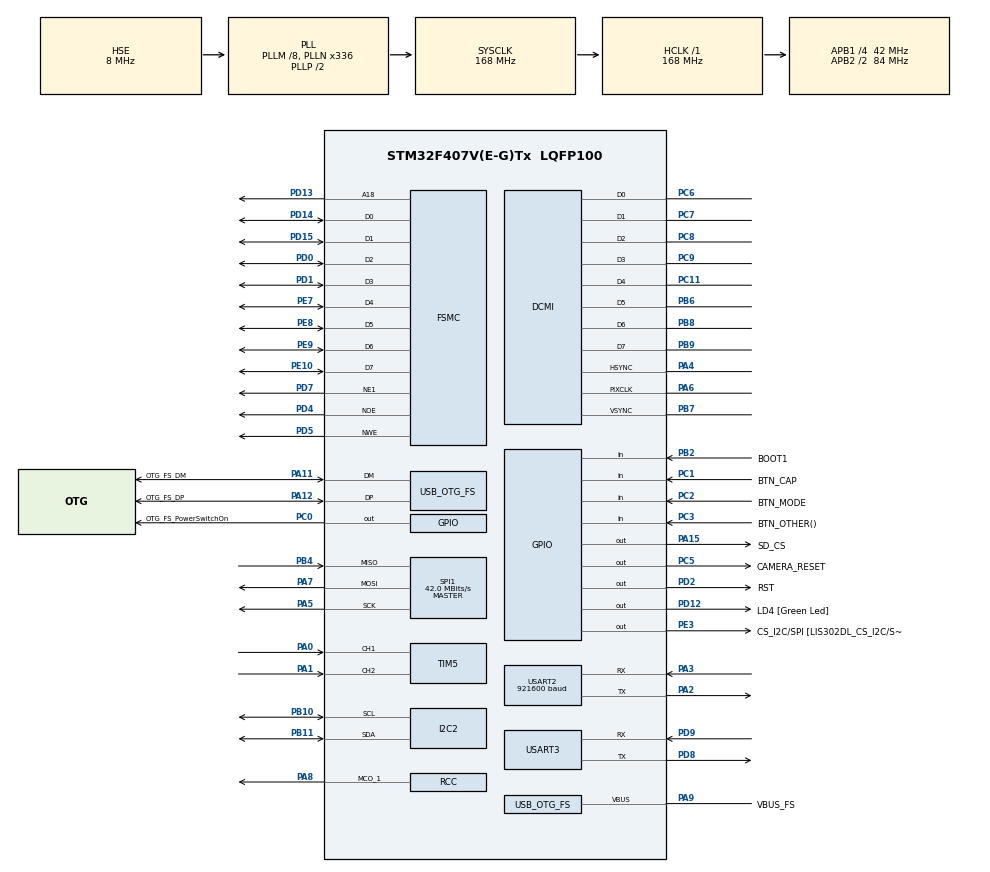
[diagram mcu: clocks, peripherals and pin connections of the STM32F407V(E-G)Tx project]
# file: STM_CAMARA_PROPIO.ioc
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DCMI.PCKPolarity=DCMI_PCKPOLARITY_RISING
DCMI.VSPolarity=DCMI_VSPOLARITY_HIGH
Dma.DCMI.2.Direction=DMA_PERIPH_TO_MEMORY
Dma.DCMI.2.FIFOMode=DMA_FIFOMODE_DISABLE
Dma.DCMI.2.Instance=DMA2_Stream1
Dma.DCMI.2.MemDataAlignment=DMA_MDATAALIGN_WORD
Dma.DCMI.2.MemInc=DMA_MINC_DISABLE
Dma.DCMI.2.Mode=DMA_NORMAL
Dma.DCMI.2.PeriphDataAlignment=DMA_PDATAALIGN_WORD
Dma.DCMI.2.PeriphInc=DMA_PINC_DISABLE
Dma.DCMI.2.Priority=DMA_PRIORITY_LOW
Dma.Request0=USART2_RX
Dma.Request1=USART3_RX
Dma.Request2=DCMI
Dma.USART2_RX.0.Direction=DMA_PERIPH_TO_MEMORY
Dma.USART2_RX.0.FIFOMode=DMA_FIFOMODE_DISABLE
Dma.USART2_RX.0.Instance=DMA1_Stream5
Dma.USART2_RX.0.MemDataAlignment=DMA_MDATAALIGN_BYTE
Dma.USART2_RX.0.MemInc=DMA_MINC_ENABLE
Dma.USART2_RX.0.Mode=DMA_CIRCULAR
Dma.USART2_RX.0.PeriphDataAlignment=DMA_PDATAALIGN_BYTE
Dma.USART2_RX.0.PeriphInc=DMA_PINC_DISABLE
Dma.USART2_RX.0.Priority=DMA_PRIORITY_LOW
Dma.USART3_RX.1.Direction=DMA_PERIPH_TO_MEMORY
Dma.USART3_RX.1.FIFOMode=DMA_FIFOMODE_DISABLE
Dma.USART3_RX.1.Instance=DMA1_Stream1
Dma.USART3_RX.1.MemDataAlignment=DMA_MDATAALIGN_BYTE
Dma.USART3_RX.1.MemInc=DMA_MINC_ENABLE
Dma.USART3_RX.1.Mode=DMA_NORMAL
Dma.USART3_RX.1.PeriphDataAlignment=DMA_PDATAALIGN_BYTE
Dma.USART3_RX.1.PeriphInc=DMA_PINC_DISABLE
Dma.USART3_RX.1.Priority=DMA_PRIORITY_LOW
FSMC.AddressSetupTime1=6
FSMC.BusTurnAroundDuration1=1
FSMC.DataSetupTime1=6
FSMC.ExtendedMode1=FSMC_EXTENDED_MODE_DISABLE
Mcu.Family=STM32F4
Mcu.Name=STM32F407V(E-G)Tx
Mcu.Package=LQFP100
NVIC.DCMI_IRQn=true\:0\:0\:false\:false\:true\:true\:true\:true
NVIC.DMA1_Stream1_IRQn=true\:0\:0\:false\:false\:true\:false\:true\:true
NVIC.DMA1_Stream5_IRQn=true\:0\:0\:false\:false\:true\:false\:true\:true
NVIC.DMA2_Stream1_IRQn=true\:0\:0\:false\:false\:true\:false\:true\:true
NVIC.OTG_FS_IRQn=true\:0\:0\:false\:false\:true\:true\:true\:true
NVIC.PriorityGroup=NVIC_PRIORITYGROUP_0
PA0-WKUP.Signal=S_TIM5_CH1
PA1.Signal=S_TIM5_CH2
PA10.GPIO_Label=OTG_FS_ID
PA10.GPIO_Mode=GPIO_MODE_AF_PP
PA10.GPIO_PuPd=GPIO_NOPULL
PA10.GPIO_Speed=GPIO_SPEED_FREQ_LOW
PA10.Signal=USB_OTG_FS_ID
PA11.GPIO_Label=OTG_FS_DM
PA11.GPIO_Mode=GPIO_MODE_AF_PP
PA11.GPIO_PuPd=GPIO_NOPULL
PA11.GPIO_Speed=GPIO_SPEED_FREQ_LOW
PA11.Mode=Host_Only
PA11.Signal=USB_OTG_FS_DM
PA12.GPIO_Label=OTG_FS_DP
PA12.GPIO_Mode=GPIO_MODE_AF_PP
PA12.GPIO_PuPd=GPIO_NOPULL
PA12.GPIO_Speed=GPIO_SPEED_FREQ_LOW
PA12.Mode=Host_Only
PA12.Signal=USB_OTG_FS_DP
PA13.GPIO_Label=SWDIO
PA13.Mode=Serial_Wire
PA13.Signal=SYS_JTMS-SWDIO
PA14.GPIO_Label=SWCLK
PA14.Mode=Serial_Wire
PA14.Signal=SYS_JTCK-SWCLK
PA15.GPIO_Label=SD_CS
PA15.Signal=GPIO_Output
PA2.Mode=Asynchronous
PA2.Signal=USART2_TX
PA3.Mode=Asynchronous
PA3.Signal=USART2_RX
PA4.GPIO_PuPd=GPIO_PULLDOWN
PA4.GPIO_Speed=GPIO_SPEED_FREQ_VERY_HIGH
PA4.Mode=Slave_8_bits_External_Synchro
PA4.Signal=DCMI_HSYNC
PA5.Mode=Full_Duplex_Master
PA5.Signal=SPI1_SCK
PA6.GPIO_PuPd=GPIO_PULLDOWN
PA6.GPIO_Speed=GPIO_SPEED_FREQ_VERY_HIGH
PA6.Mode=Slave_8_bits_External_Synchro
PA6.Signal=DCMI_PIXCLK
PA7.Mode=Full_Duplex_Master
PA7.Signal=SPI1_MOSI
PA8.GPIO_Speed=GPIO_SPEED_FREQ_VERY_HIGH
PA8.Mode=Clock-out-1
PA8.Signal=RCC_MCO_1
PA9.GPIO_Label=VBUS_FS
PA9.GPIO_Mode=GPIO_MODE_INPUT
PA9.GPIO_PuPd=GPIO_NOPULL
PA9.Mode=Activate_VBUS
PA9.Signal=USB_OTG_FS_VBUS
PB10.Mode=I2C
PB10.Signal=I2C2_SCL
PB11.Mode=I2C
PB11.Signal=I2C2_SDA
PB2.GPIO_Label=BOOT1
PB2.GPIO_Mode=GPIO_MODE_INPUT
PB2.GPIO_PuPd=GPIO_NOPULL
PB2.Signal=GPIO_Input
PB3.GPIO_Label=SWO
PB3.Signal=SYS_JTDO-SWO
PB4.Mode=Full_Duplex_Master
PB4.Signal=SPI1_MISO
PB6.GPIO_PuPd=GPIO_PULLDOWN
PB6.GPIO_Speed=GPIO_SPEED_FREQ_VERY_HIGH
PB6.Mode=Slave_8_bits_External_Synchro
PB6.Signal=DCMI_D5
PB7.GPIO_PuPd=GPIO_PULLDOWN
PB7.GPIO_Speed=GPIO_SPEED_FREQ_VERY_HIGH
PB7.Mode=Slave_8_bits_External_Synchro
PB7.Signal=DCMI_VSYNC
PB8.GPIO_PuPd=GPIO_PULLDOWN
PB8.GPIO_Speed=GPIO_SPEED_FREQ_VERY_HIGH
PB8.Mode=Slave_8_bits_External_Synchro
PB8.Signal=DCMI_D6
PB9.GPIO_PuPd=GPIO_PULLDOWN
PB9.GPIO_Speed=GPIO_SPEED_FREQ_VERY_HIGH
PB9.Mode=Slave_8_bits_External_Synchro
PB9.Signal=DCMI_D7
PC0.GPIO_Label=OTG_FS_PowerSwitchOn
PC0.GPIO_PuPd=GPIO_NOPULL
PC0.GPIO_Speed=GPIO_SPEED_FREQ_LOW
PC0.PinState=GPIO_PIN_SET
PC0.Signal=GPIO_Output
PC1.GPIO_Label=BTN_CAP
PC1.GPIO_PuPd=GPIO_PULLUP
PC1.Signal=GPIO_Input
PC11.GPIO_PuPd=GPIO_PULLDOWN
PC11.GPIO_Speed=GPIO_SPEED_FREQ_VERY_HIGH
PC11.Mode=Slave_8_bits_External_Synchro
PC11.Signal=DCMI_D4
PC14-OSC32_IN.GPIO_Label=PC14-OSC32_IN
PC14-OSC32_IN.Signal=RCC_OSC32_IN
PC15-OSC32_OUT.GPIO_Label=PC15-OSC32_OUT
PC15-OSC32_OUT.Signal=RCC_OSC32_OUT
PC2.GPIO_Label=BTN_MODE
PC2.GPIO_PuPd=GPIO_PULLUP
PC2.Signal=GPIO_Input
PC3.GPIO_Label=BTN_OTHER()
PC3.GPIO_PuPd=GPIO_PULLUP
PC3.Signal=GPIO_Input
PC5.GPIO_Label=CAMERA_RESET
PC5.Signal=GPIO_Output
PC6.GPIO_PuPd=GPIO_PULLDOWN
PC6.GPIO_Speed=GPIO_SPEED_FREQ_VERY_HIGH
PC6.Mode=Slave_8_bits_External_Synchro
PC6.Signal=DCMI_D0
PC7.GPIO_PuPd=GPIO_PULLDOWN
PC7.GPIO_Speed=GPIO_SPEED_FREQ_VERY_HIGH
PC7.Mode=Slave_8_bits_External_Synchro
PC7.Signal=DCMI_D1
PC8.GPIO_PuPd=GPIO_PULLDOWN
PC8.GPIO_Speed=GPIO_SPEED_FREQ_VERY_HIGH
PC8.Mode=Slave_8_bits_External_Synchro
PC8.Signal=DCMI_D2
PC9.GPIO_PuPd=GPIO_PULLDOWN
PC9.GPIO_Speed=GPIO_SPEED_FREQ_VERY_HIGH
PC9.Mode=Slave_8_bits_External_Synchro
PC9.Signal=DCMI_D3
PD0.Mode=8b-d1
PD0.Signal=FSMC_D2
PD1.Mode=8b-d1
PD1.Signal=FSMC_D3
PD12.GPIO_Label=LD4 [Green Led]
PD12.GPIO_PuPd=GPIO_NOPULL
PD12.GPIO_Speed=GPIO_SPEED_FREQ_LOW
PD12.Signal=GPIO_Output
PD13.Mode=A18_1
PD13.Signal=FSMC_A18
PD14.Mode=8b-d1
PD14.Signal=FSMC_D0
PD15.Mode=8b-d1
PD15.Signal=FSMC_D1
PD2.GPIO_Label=RST
PD2.Signal=GPIO_Output
PD4.Mode=Lcd1
PD4.Signal=FSMC_NOE
PD5.Mode=Lcd1
PD5.Signal=FSMC_NWE
PD7.Mode=NorPsramChipSelect1_1
PD7.Signal=FSMC_NE1
PD8.Mode=Asynchronous
PD8.Signal=USART3_TX
PD9.Mode=Asynchronous
PD9.Signal=USART3_RX
PE10.Mode=8b-d1
PE10.Signal=FSMC_D7
PE3.GPIO_Label=CS_I2C/SPI [LIS302DL_CS_I2C/SPI]
PE3.GPIO_PuPd=GPIO_NOPULL
PE3.GPIO_Speed=GPIO_SPEED_FREQ_LOW
PE3.PinState=GPIO_PIN_SET
PE3.Signal=GPIO_Output
PE7.Mode=8b-d1
PE7.Signal=FSMC_D4
PE8.Mode=8b-d1
PE8.Signal=FSMC_D5
PE9.Mode=8b-d1
PE9.Signal=FSMC_D6
PH0-OSC_IN.GPIO_Label=PH0-OSC_IN
PH0-OSC_IN.Mode=HSE-External-Oscillator
PH0-OSC_IN.Signal=RCC_OSC_IN
PH1-OSC_OUT.GPIO_Label=PH1-OSC_OUT
PH1-OSC_OUT.Mode=HSE-External-Oscillator
PH1-OSC_OUT.Signal=RCC_OSC_OUT
ProjectManager.HeapSize=0x200
ProjectManager.StackSize=0x400
ProjectManager.TargetToolchain=STM32CubeIDE
RCC.48MHZClocksFreq_Value=48000000
RCC.AHBFreq_Value=168000000
RCC.APB1CLKDivider=RCC_HCLK_DIV4
RCC.APB1Freq_Value=42000000
RCC.APB1TimFreq_Value=84000000
RCC.APB2CLKDivider=RCC_HCLK_DIV2
RCC.APB2Freq_Value=84000000
RCC.APB2TimFreq_Value=168000000
RCC.CortexFreq_Value=168000000
RCC.HCLKFreq_Value=168000000
RCC.HSE_VALUE=8000000
RCC.HSI_VALUE=16000000
RCC.LSE_VALUE=32768
RCC.PLLM=8
RCC.PLLN=336
RCC.PLLQ=7
RCC.RCC_MCO1Source=RCC_MCO1SOURCE_PLLCLK
RCC.RCC_MCODiv1=RCC_MCODIV_4
RCC.SYSCLKFreq_VALUE=168000000
RCC.SYSCLKSource=RCC_SYSCLKSOURCE_PLLCLK
RCC.VCOOutputFreq_Value=336000000
SH.S_TIM5_CH1.0=TIM5_CH1,Encoder_Interface
SH.S_TIM5_CH2.0=TIM5_CH2,Encoder_Interface
SPI1.CalculateBaudRate=42.0 MBits/s
SPI1.Direction=SPI_DIRECTION_2LINES
SPI1.Mode=SPI_MODE_MASTER
SPI1.VirtualType=VM_MASTER
USART2.BaudRate=921600
USART2.VirtualMode=VM_ASYNC
USART3.VirtualMode=VM_ASYNC
USB_HOST.BSP.number=1
USB_HOST.USBH_HandleTypeDef-CDC_FS=hUsbHostFS
USB_HOST.VirtualModeFS=Cdc
USB_HOST0.BSP.STBoard=false
USB_HOST0.BSP.api=Unknown
USB_HOST0.BSP.instance=PC0
USB_HOST0.BSP.ip=GPIO
USB_HOST0.BSP.mode=Output
USB_HOST0.BSP.name=Drive_VBUS_FS
USB_HOST0.BSP.solution=PC0
USB_OTG_FS.VirtualMode=Host_Only
USB_OTG_FS.phy_itface=HCD_PHY_EMBEDDED
VP_USB_HOST_VS_USB_HOST_CDC_FS.Mode=CDC_FS
board=STM32F407G-DISC1

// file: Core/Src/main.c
/* USER CODE BEGIN Header */
/**
  ******************************************************************************
  * @file           : main.c
  * @brief          : Main program body
  ******************************************************************************
  * @attention
  *
  * Copyright (c) 2022 STMicroelectronics.
  * All rights reserved.
  *
  * This software is licensed under terms that can be found in the LICENSE file
  * in the root directory of this software component.
  * If no LICENSE file comes with this software, it is provided AS-IS.
  *
  ******************************************************************************
  */
/* USER CODE END Header */
#include "main.h"
#include "usb_host.h"

/* USER CODE BEGIN Includes */

#include "./lcdIli9341/lcdIli9341.h"
//#include "./ov7670/ov7670.c"
#include "./ov7670/ov7670.h"
/* USER CODE END Includes */

/* USER CODE BEGIN PD */
#define FLASH_STORAGE 0x08005000
#define page_size 0x800

/* USER CODE END PD */

DCMI_HandleTypeDef hdcmi;
DMA_HandleTypeDef hdma_dcmi;

I2C_HandleTypeDef hi2c2;

SPI_HandleTypeDef hspi1;

TIM_HandleTypeDef htim5;

UART_HandleTypeDef huart2;
UART_HandleTypeDef huart3;
DMA_HandleTypeDef hdma_usart2_rx;
DMA_HandleTypeDef hdma_usart3_rx;

SRAM_HandleTypeDef hsram1;

/* USER CODE BEGIN PV */

uint32_t Flash_Address=0x08040000;  // direccion de memoria

/* USER CODE END PV */

void SystemClock_Config(void);
static void MX_GPIO_Init(void);
static void MX_DMA_Init(void);
static void MX_DCMI_Init(void);
static void MX_FSMC_Init(void);
static void MX_I2C2_Init(void);
static void MX_SPI1_Init(void);
static void MX_TIM5_Init(void);
static void MX_USART2_UART_Init(void);
static void MX_USART3_UART_Init(void);
void MX_USB_HOST_Process(void);

/* USER CODE BEGIN 0 */

uint8_t myImage[] =
{
// LA IMAGEN EST�? MAL, RETIRÉ ARREGLOS PARA FACILITAR EL USO DEL IDE
0x04,0x27,0x03,0xc6,0x03,0xe7,0x04,0x07,0x03,0xe6,0x03,0xc6,0x4c,0xac,0x4c,0x6b,0x44,0xab,0x44,0xab,0x3c,0x2a,0x3c,0x4a,0x2c,0x29,0x03,0xa5,0x03,0x65,0x03,0x24,0x03,0x04,0x1a,0xa6,0x29,0x85,0x10,0xa2,0x08,0x81,0x08,0x81,0x08,0x61,0x10,0x81,0x10,0x81,0x08,0x61,0x08,0x81,0x08,0xe2,0x2b,0x47,0x5c,0x8c,0x54,0x4b,0x64,0xcd,0x64,0xad,0x34,0x09,0x3c,0x4a,0x5c,0x8c,0x34,0x4a,0x03,0xa6,0x0b,0xa6,0x2b,0xe9,0x8d,0x10,0xb5,0xb4,0xb5,0xb4,0xad,0xb4,0xad,0x94,0xad,0xb4,0xad,0x94,0xb5,0xb5,0xbd,0xf5,0x7c,0xef,0x1b,0xc8,0x03,0xe6,0x0c,0x07,0x64,0xee,0x64,0xad,0x4c,0xcd,0x6c,0xef,0x44,0xac,0x04,0x06,0x04,0x07,0x04,0x07,0x04,0x07,0x03,0xe7,0x04,0x28,0x04,0x07,0x04,0x07,0x04,0x27,0x0c,0x28,0x55,0x0d,0x4c,0xcc,0x44,0xcc,0x4c,0xcc,0x4c,0xac,0x44,0xcc,0x24,0x8a,0x04,0x07,0x04,0x07,0x04,0x07,0x03,0xe7,0x0c,0x28
,0xbe,0xd8,0xb6,0x97,0xae,0x77,0xae,0x77,0xae,0x77,0xa6,0x76,0xa6,0x56,0xa6,0x56,0xa6,0x56,0xa6,0x56,0xa6,0x56,0xa6,0x35,0xa6,0x56,0xa6,0x56,0xa6,0x35,0xa6,0x35,0xa6,0x35,0x9d,0x73,0x18,0xe2,0x10,0xa1,0x10,0x81,0x10,0x81,0x10,0x61,0x10,0x61,0x10,0x81,0x10,0xa1,0x18,0xc2,0x31,0xe6,0xc6,0xb8,0xae,0x56,0xa6,0x56,0xa6,0x56,0xa6,0x36,0xa6,0x36,0xa6,0x56,0xa6,0x56,0xa6,0x56,0xa6,0x76,0xa6,0x56,0xae,0x77,0xd6,0xd9,0xf7,0x9d,0xef,0x5c,0xef,0x7c,0xef,0x7c,0xef,0x7c,0xef,0x7c,0xf7,0x9d,0xef,0x5c,0xd6,0xfa,0xa6,0x56,0xa6,0x56,0xa6,0x56,0xa6,0x76,0xa6,0x76,0xa6,0x76,0xa6,0x76,0xa6,0x76,0xae,0x76,0xa6,0x77,0xa6,0x56,0x9e,0x76,0x9e,0x76,0x9e,0x76,0xa6,0x76,0xa6,0x76,0x9e,0x76,0x9e,0x56,0x9e,0x56,0x9e,0x55,0x9e,0x55,0x9e,0x55,0x9e,0x56,0x9e,0x55,0x9e,0x56,0xa6,0x56,0xa6,0x56,0xa6,0x76,0xae,0x77,0xae,0x77
,0xff,0xff,0xff,0xff,0xff,0xff,0xff,0xff,0xff,0xff,0xff,0xff,0xff,0xff,0xff,0xff,0xff,0xff,0xff,0xff,0xff,0xff,0xff,0xff,0xff,0xff,0xff,0xff,0xff,0xff,0xff,0xff,0xff,0xff,0xff,0xdf,0x7b,0xcd,0x31,0x85,0x29,0x64,0x10,0x81,0x10,0xa2,0x29,0x64,0x39,0xe6,0xce,0x58,0xf7,0xbe,0xf7,0xbe,0xff,0xff,0xff,0xff,0xff,0xff,0xff,0xff,0xff,0xff,0xff,0xff,0xff,0xff,0xff,0xff,0xff,0xff,0xff,0xff,0xff,0xff,0xff,0xff,0xff,0xff,0xff,0xff,0xff,0xff,0xff,0xff,0xff,0xff,0xff,0xff,0xff,0xff,0xff,0xff,0xff,0xff,0xff,0xff,0xff,0xff,0xff,0xff,0xff,0xff,0xff,0xff,0xff,0xff,0xff,0xff,0xff,0xff,0xff,0xff,0xff,0xff,0xff,0xff,0xff,0xff,0xff,0xff,0xff,0xff,0xff,0xff,0xff,0xff,0xff,0xff,0xff,0xff,0xff,0xff,0xff,0xff,0xff,0xff,0xff,0xff,0xff,0xff,0xff,0xff,0xff,0xff,0xff,0xff,0xff,0xff,0xff,0xff,0xff,0xff,0xff,0xff,0xff,0xff
,0xff,0xff,0xff,0xff,0xff,0xff,0xff,0xff,0xff,0xff,0xff,0xff,0xff,0xff,0xff,0xff,0xff,0xff,0xff,0xff,0xff,0xff,0xff,0xff,0xff,0xff,0xff,0xff,0xff,0xff,0xff,0xff,0xff,0xff,0xff,0xff,0x84,0x0e,0x31,0xa5,0x29,0x44,0x08,0x81,0x08,0x81,0x29,0x64,0x3a,0x07,0xd6,0x99,0xff,0xff,0xff,0xff,0xff,0xff,0xff,0xff,0xff,0xff,0xff,0xff,0xff,0xff,0xff,0xff,0xff,0xff,0xff,0xff,0xff,0xff,0xff,0xff,0xff,0xff,0xff,0xff,0xff,0xff,0xff,0xff,0xff,0xff,0xff,0xff,0xff,0xff,0xff,0xff,0xff,0xff,0xff,0xff,0xff,0xff,0xff,0xff,0xff,0xff,0xff,0xff,0xff,0xff,0xff,0xff,0xff,0xff,0xff,0xff,0xff,0xff,0xff,0xff,0xff,0xff,0xff,0xff,0xff,0xff,0xff,0xff,0xff,0xff,0xff,0xff,0xff,0xff,0xff,0xff,0xff,0xff,0xff,0xff,0xff,0xff,0xff,0xff,0xff,0xff,0xff,0xff,0xff,0xff,0xff,0xff,0xff,0xff,0xff,0xff,0xff,0xff,0xff,0xff,0xff,0xff,0xff,0xff
,0xff,0xff,0xff,0xff,0xff,0xff,0xff,0xff,0xff,0xff,0xff,0xff,0xff,0xff,0xff,0xff,0xff,0xff,0xff,0xff,0xff,0xff,0xff,0xff,0xff,0xff,0xff,0xff,0xff,0xff,0xff,0xff,0xff,0xff,0xff,0xff,0x84,0x0f,0x31,0xa5,0x29,0x44,0x08,0x81,0x10,0xa1,0x29,0x64,0x3a,0x06,0xd6,0x99,0xff,0xff,0xff,0xff,0xff,0xff,0xff,0xff,0xff,0xff,0xff,0xff,0xff,0xff,0xff,0xff,0xff,0xff,0xff,0xff,0xff,0xff,0xff,0xff,0xff,0xff,0xff,0xff,0xff,0xff,0xff,0xff,0xff,0xff,0xff,0xff,0xff,0xff,0xff,0xff,0xff,0xff,0xff,0xff,0xff,0xff,0xff,0xff,0xff,0xff,0xff,0xff,0xff,0xff,0xff,0xff,0xff,0xff,0xff,0xff,0xff,0xff,0xff,0xff,0xff,0xff,0xff,0xff,0xff,0xff,0xff,0xff,0xff,0xff,0xff,0xff,0xff,0xff,0xff,0xff,0xff,0xff,0xff,0xff,0xff,0xff,0xff,0xff,0xff,0xff,0xff,0xff,0xff,0xff,0xff,0xff,0xff,0xff,0xff,0xff,0xff,0xff,0xff,0xff,0xff,0xff,0xff,0xff
,0xff,0xff,0xff,0xff,0xff,0xff,0xff,0xff,0xff,0xff,0xff,0xff,0xff,0xff,0xff,0xff,0xff,0xff,0xff,0xff,0xff,0xff,0xff,0xff,0xff,0xff,0xff,0xff,0xff,0xff,0xff,0xff,0xff,0xff,0xff,0xff,0x7c,0x0e,0x31,0xa5,0x29,0x44,0x10,0xa1,0x10,0xa2,0x29,0x64,0x42,0x06,0xd6,0x99,0xff,0xff,0xff,0xff,0xff,0xff,0xff,0xff,0xff,0xff,0xff,0xff,0xff,0xff,0xff,0xff,0xff,0xff,0xff,0xff,0xff,0xff,0xff,0xff,0xff,0xff,0xff,0xff,0xff,0xff,0xff,0xff,0xff,0xff,0xff,0xff,0xff,0xff,0xff,0xff,0xff,0xff,0xff,0xff,0xff,0xff,0xff,0xff,0xff,0xff,0xff,0xff,0xff,0xff,0xff,0xff,0xff,0xff,0xff,0xff,0xff,0xff,0xff,0xff,0xff,0xff,0xff,0xff,0xff,0xff,0xff,0xff,0xff,0xff,0xff,0xff,0xff,0xff,0xff,0xff,0xff,0xff,0xff,0xff,0xff,0xff,0xff,0xff,0xff,0xff,0xff,0xff,0xff,0xff,0xff,0xff,0xff,0xff,0xff,0xff,0xff,0xff,0xff,0xff,0xff,0xff,0xff,0xff
,0xff,0xff,0xff,0xff,0xff,0xff,0xff,0xff,0xff,0xff,0xff,0xff,0xff,0xff,0xff,0xff,0xff,0xff,0xff,0xff,0xff,0xff,0xff,0xff,0xff,0xff,0xff,0xff,0xff,0xff,0xff,0xff,0xff,0xff,0xff,0xff,0x8c,0x50,0x39,0xe6,0x31,0x85,0x18,0xe2,0x21,0x03,0x31,0xa5,0x4a,0x47,0xd6,0xba,0xff,0xff,0xff,0xff,0xff,0xff,0xff,0xff,0xff,0xff,0xff,0xff,0xff,0xff,0xff,0xff,0xff,0xff,0xff,0xff,0xff,0xff,0xff,0xff,0xff,0xff,0xff,0xff,0xff,0xff,0xff,0xff,0xff,0xff,0xff,0xff,0xff,0xff,0xff,0xff,0xff,0xff,0xff,0xff,0xff,0xff,0xff,0xff,0xff,0xff,0xff,0xff,0xff,0xff,0xff,0xff,0xff,0xff,0xff,0xff,0xff,0xff,0xff,0xff,0xff,0xff,0xff,0xff,0xff,0xff,0xff,0xff,0xff,0xff,0xff,0xff,0xff,0xff,0xff,0xff,0xff,0xff,0xff,0xff,0xff,0xff,0xff,0xff,0xff,0xff,0xff,0xff,0xff,0xff,0xff,0xff,0xff,0xff,0xff,0xff,0xff,0xff,0xff,0xff,0xff,0xff,0xff,0xff

};

/* USER CODE END 0 */

int main(void)
{
  /* USER CODE BEGIN 1 */
	HAL_GPIO_WritePin(GPIOD, LD4_Pin, GPIO_PIN_RESET);
  /* USER CODE END 1 */

  /* MCU Configuration--------------------------------------------------------*/

  /* Reset of all peripherals, Initializes the Flash interface and the Systick. */
  HAL_Init();

  /* Configure the system clock */
  SystemClock_Config();

  /* Initialize all configured peripherals */
  MX_GPIO_Init();
  MX_DMA_Init();
  MX_DCMI_Init();
  MX_FSMC_Init();
  MX_I2C2_Init();
  MX_SPI1_Init();
  MX_TIM5_Init();
  MX_USART2_UART_Init();
  MX_USART3_UART_Init();
  MX_USB_HOST_Init();
  /* USER CODE BEGIN 2 */

//____________________________________________________________________________DATOS POR SERIAL, EN ARCHIVO uartTerminal vienen comandos__

  retarget_init();

  //printf("hola mundo \n");    //COMENTÉ EL SALUDO PARA LEER LOS DATOS EN HEX

  //_________________esto iba en el WHILE infinito_______es una lectura de datos continua sobre el serial

  /*
   	  int number ;
	  printf("dame un numero \n");
	  scanf("%d", &number);
	  printf("%d x 2 = %d", number, number*2);
	  */

  //__________________________________________________________________________AQUI EMPIEZA LCD_________________
	HAL_GPIO_WritePin(RST_GPIO_Port, RST_Pin, GPIO_PIN_RESET);
	HAL_Delay(10);
	HAL_GPIO_WritePin(RST_GPIO_Port, RST_Pin, GPIO_PIN_SET);

	//lcdIli9341_init(); //de iwitake inicializacion de lcd
	//lcdIli9341_writeCmd(0x01);  // de iwitake lcd

	ILI9341_Init();   // INCIALIZACION DE lcd
	ILI9341_setRotation(3);

	ILI9341_Fill(COLOR_RED);

	//Draw and fill circle
	//ILI9341_drawCircle(50,50, 40, COLOR_GREEN);
	//ILI9341_fillCircle(110,190, 80, COLOR_RED);
	//Print text
	//ILI9341_printText("HELLO", 60, 90, COLOR_YELLOW, COLOR_YELLOW, 5);
	//Print-Fill triangle
	//ILI9341_fillTriangle(10, 160, 110, 160, 190, 300, COLOR_BLACK);

	HAL_Delay(4000);

	//ILI9341_printImage(50, 50, 80, 130, myImage, sizeof(myImage));    IMAGEN COMENTADA, NO HAY ARREGLO DE IMAGEN
//___________________________________________________________________________AQUI TERMINA LCD_________________________

	//___________________________________________________AQUI EMPIEZA CAMARA_____________________________

	//HAL_Delay(5000);

	uint8_t* p_lcdData;
	uint8_t* myImage1;

	//direccion= ILI9341_SendCommand();

	p_lcdData = lcdIli9341_getDrawAddress();

	//ILI9341_SendData(ILI9341_RESET);
	//ILI9341_SendCommand(ILI9341_RESET);

	//ILI9341_DISPLAY_INVERSION

	//ov7670_startCap(OV7670_CAP_SINGLE_FRAME, Flash_Address);   // se supone que está guardado en la direccion de memoria asignada
	ov7670_init(&hdcmi, &hdma_dcmi, &hi2c2);
	ov7670_config(OV7670_MODE_QVGA_RGB565);
	ov7670_startCap(OV7670_CAP_CONTINUOUS /*, p_lcdData*/);    // ya intenté: 1.-directamente con 0x60040000 y 0x60000000
	//ILI9341_SendData(myImage1);
	ov7670_startCap(OV7670_CAP_CONTINUOUS /*, p_lcdData*/);
	HAL_GPIO_WritePin(GPIOD, LD4_Pin, GPIO_PIN_RESET);
	//HAL_UART_Transmit(&huart3, myImage1, sizeof(myImage1), 0xffff);

	HAL_Delay(1000);

	//ILI9341_printImage(50, 50, 80, 130, myImage1, sizeof(myImage1));

	//ILI9341_printImage(50, 50, 80, 130, p_lcdData, sizeof(p_lcdData));

	//ov7670_write(regAddr, myImage1);

	//ILI9341_SendData();

	// me falta saber que es el regAddr

	//OV7670_CAP_SINGLE_FRAME
	//OV7670_CAP_CONTINUOUS

	//____________________________________________________AQUI TERMINA CAMARA____________________________

	//__________________________________________________________________________INTENTO DE ENVIO DE FRAMES

	/*

	uint8_t myImage1[] ={

	};

	*/

	//ILI9341_printImage(50, 50, 80, 130, myImage1, sizeof(myImage1));
	//ILI9341_printImage(uint16_t x, uint16_t y, uint16_t w, uint16_t h, uint8_t *data, uint32_t size); formato

	//____________________________________________________________________________FIN DE INTENTO
  /* USER CODE END 2 */

  /* Infinite loop */
  /* USER CODE BEGIN WHILE */
  while (1)
  {

/*
	  HAL_GPIO_WritePin(GPIOD, LD4_Pin, GPIO_PIN_RESET);
	  HAL_Delay(4000);
	  HAL_GPIO_WritePin(GPIOD, LD4_Pin, GPIO_PIN_SET);
	  HAL_Delay(4000);
*/

    /* USER CODE END WHILE */
    MX_USB_HOST_Process();

  }
}

void SystemClock_Config(void)
{
  RCC_OscInitTypeDef RCC_OscInitStruct = {0};
  RCC_ClkInitTypeDef RCC_ClkInitStruct = {0};

  /** Configure the main internal regulator output voltage
  */
  __HAL_RCC_PWR_CLK_ENABLE();
  __HAL_PWR_VOLTAGESCALING_CONFIG(PWR_REGULATOR_VOLTAGE_SCALE1);

  /** Initializes the RCC Oscillators according to the specified parameters
  * in the RCC_OscInitTypeDef structure.
  */
  RCC_OscInitStruct.OscillatorType = RCC_OSCILLATORTYPE_HSE;
  RCC_OscInitStruct.HSEState = RCC_HSE_ON;
  RCC_OscInitStruct.PLL.PLLState = RCC_PLL_ON;
  RCC_OscInitStruct.PLL.PLLSource = RCC_PLLSOURCE_HSE;
  RCC_OscInitStruct.PLL.PLLM = 8;
  RCC_OscInitStruct.PLL.PLLN = 336;
  RCC_OscInitStruct.PLL.PLLP = RCC_PLLP_DIV2;
  RCC_OscInitStruct.PLL.PLLQ = 7;
  if (HAL_RCC_OscConfig(&RCC_OscInitStruct) != HAL_OK)
  {
    Error_Handler();
  }

  /** Initializes the CPU, AHB and APB buses clocks
  */
  RCC_ClkInitStruct.ClockType = RCC_CLOCKTYPE_HCLK|RCC_CLOCKTYPE_SYSCLK
                              |RCC_CLOCKTYPE_PCLK1|RCC_CLOCKTYPE_PCLK2;
  RCC_ClkInitStruct.SYSCLKSource = RCC_SYSCLKSOURCE_PLLCLK;
  RCC_ClkInitStruct.AHBCLKDivider = RCC_SYSCLK_DIV1;
  RCC_ClkInitStruct.APB1CLKDivider = RCC_HCLK_DIV4;
  RCC_ClkInitStruct.APB2CLKDivider = RCC_HCLK_DIV2;

  if (HAL_RCC_ClockConfig(&RCC_ClkInitStruct, FLASH_LATENCY_5) != HAL_OK)
  {
    Error_Handler();
  }
  HAL_RCC_MCOConfig(RCC_MCO1, RCC_MCO1SOURCE_PLLCLK, RCC_MCODIV_4);
}

static void MX_DCMI_Init(void)
{

  hdcmi.Instance = DCMI;
  hdcmi.Init.SynchroMode = DCMI_SYNCHRO_HARDWARE;
  hdcmi.Init.PCKPolarity = DCMI_PCKPOLARITY_RISING;
  hdcmi.Init.VSPolarity = DCMI_VSPOLARITY_HIGH;
  hdcmi.Init.HSPolarity = DCMI_HSPOLARITY_LOW;
  hdcmi.Init.CaptureRate = DCMI_CR_ALL_FRAME;
  hdcmi.Init.ExtendedDataMode = DCMI_EXTEND_DATA_8B;
  hdcmi.Init.JPEGMode = DCMI_JPEG_DISABLE;
  if (HAL_DCMI_Init(&hdcmi) != HAL_OK)
  {
    Error_Handler();
  }

}

static void MX_I2C2_Init(void)
{

  hi2c2.Instance = I2C2;
  hi2c2.Init.ClockSpeed = 100000;
  hi2c2.Init.DutyCycle = I2C_DUTYCYCLE_2;
  hi2c2.Init.OwnAddress1 = 0;
  hi2c2.Init.AddressingMode = I2C_ADDRESSINGMODE_7BIT;
  hi2c2.Init.DualAddressMode = I2C_DUALADDRESS_DISABLE;
  hi2c2.Init.OwnAddress2 = 0;
  hi2c2.Init.GeneralCallMode = I2C_GENERALCALL_DISABLE;
  hi2c2.Init.NoStretchMode = I2C_NOSTRETCH_DISABLE;
  if (HAL_I2C_Init(&hi2c2) != HAL_OK)
  {
    Error_Handler();
  }

}

static void MX_SPI1_Init(void)
{

  /* SPI1 parameter configuration*/
  hspi1.Instance = SPI1;
  hspi1.Init.Mode = SPI_MODE_MASTER;
  hspi1.Init.Direction = SPI_DIRECTION_2LINES;
  hspi1.Init.DataSize = SPI_DATASIZE_8BIT;
  hspi1.Init.CLKPolarity = SPI_POLARITY_LOW;
  hspi1.Init.CLKPhase = SPI_PHASE_1EDGE;
  hspi1.Init.NSS = SPI_NSS_SOFT;
  hspi1.Init.BaudRatePrescaler = SPI_BAUDRATEPRESCALER_2;
  hspi1.Init.FirstBit = SPI_FIRSTBIT_MSB;
  hspi1.Init.TIMode = SPI_TIMODE_DISABLE;
  hspi1.Init.CRCCalculation = SPI_CRCCALCULATION_DISABLE;
  hspi1.Init.CRCPolynomial = 10;
  if (HAL_SPI_Init(&hspi1) != HAL_OK)
  {
    Error_Handler();
  }

}

static void MX_TIM5_Init(void)
{

  TIM_Encoder_InitTypeDef sConfig = {0};
  TIM_MasterConfigTypeDef sMasterConfig = {0};

  htim5.Instance = TIM5;
  htim5.Init.Prescaler = 0;
  htim5.Init.CounterMode = TIM_COUNTERMODE_UP;
  htim5.Init.Period = 4294967295;
  htim5.Init.ClockDivision = TIM_CLOCKDIVISION_DIV1;
  htim5.Init.AutoReloadPreload = TIM_AUTORELOAD_PRELOAD_DISABLE;
  sConfig.EncoderMode = TIM_ENCODERMODE_TI1;
  sConfig.IC1Polarity = TIM_ICPOLARITY_RISING;
  sConfig.IC1Selection = TIM_ICSELECTION_DIRECTTI;
  sConfig.IC1Prescaler = TIM_ICPSC_DIV1;
  sConfig.IC1Filter = 0;
  sConfig.IC2Polarity = TIM_ICPOLARITY_RISING;
  sConfig.IC2Selection = TIM_ICSELECTION_DIRECTTI;
  sConfig.IC2Prescaler = TIM_ICPSC_DIV1;
  sConfig.IC2Filter = 0;
  if (HAL_TIM_Encoder_Init(&htim5, &sConfig) != HAL_OK)
  {
    Error_Handler();
  }
  sMasterConfig.MasterOutputTrigger = TIM_TRGO_RESET;
  sMasterConfig.MasterSlaveMode = TIM_MASTERSLAVEMODE_DISABLE;
  if (HAL_TIMEx_MasterConfigSynchronization(&htim5, &sMasterConfig) != HAL_OK)
  {
    Error_Handler();
  }

}

static void MX_USART2_UART_Init(void)
{

  huart2.Instance = USART2;
  huart2.Init.BaudRate = 921600;
  huart2.Init.WordLength = UART_WORDLENGTH_8B;
  huart2.Init.StopBits = UART_STOPBITS_1;
  huart2.Init.Parity = UART_PARITY_NONE;
  huart2.Init.Mode = UART_MODE_TX_RX;
  huart2.Init.HwFlowCtl = UART_HWCONTROL_NONE;
  huart2.Init.OverSampling = UART_OVERSAMPLING_16;
  if (HAL_UART_Init(&huart2) != HAL_OK)
  {
    Error_Handler();
  }

}

static void MX_USART3_UART_Init(void)
{

  huart3.Instance = USART3;
  huart3.Init.BaudRate = 115200;
  huart3.Init.WordLength = UART_WORDLENGTH_8B;
  huart3.Init.StopBits = UART_STOPBITS_1;
  huart3.Init.Parity = UART_PARITY_NONE;
  huart3.Init.Mode = UART_MODE_TX_RX;
  huart3.Init.HwFlowCtl = UART_HWCONTROL_NONE;
  huart3.Init.OverSampling = UART_OVERSAMPLING_16;
  if (HAL_UART_Init(&huart3) != HAL_OK)
  {
    Error_Handler();
  }

}

static void MX_DMA_Init(void)
{

  /* DMA controller clock enable */
  __HAL_RCC_DMA1_CLK_ENABLE();
  __HAL_RCC_DMA2_CLK_ENABLE();

  /* DMA interrupt init */
  /* DMA1_Stream1_IRQn interrupt configuration */
  HAL_NVIC_SetPriority(DMA1_Stream1_IRQn, 0, 0);
  HAL_NVIC_EnableIRQ(DMA1_Stream1_IRQn);
  /* DMA1_Stream5_IRQn interrupt configuration */
  HAL_NVIC_SetPriority(DMA1_Stream5_IRQn, 0, 0);
  HAL_NVIC_EnableIRQ(DMA1_Stream5_IRQn);
  /* DMA2_Stream1_IRQn interrupt configuration */
  HAL_NVIC_SetPriority(DMA2_Stream1_IRQn, 0, 0);
  HAL_NVIC_EnableIRQ(DMA2_Stream1_IRQn);

}

static void MX_GPIO_Init(void)
{
  GPIO_InitTypeDef GPIO_InitStruct = {0};

  /* GPIO Ports Clock Enable */
  __HAL_RCC_GPIOE_CLK_ENABLE();
  __HAL_RCC_GPIOC_CLK_ENABLE();
  __HAL_RCC_GPIOH_CLK_ENABLE();
  __HAL_RCC_GPIOA_CLK_ENABLE();
  __HAL_RCC_GPIOB_CLK_ENABLE();
  __HAL_RCC_GPIOD_CLK_ENABLE();

  /*Configure GPIO pin Output Level */
  HAL_GPIO_WritePin(CS_I2C_SPI_GPIO_Port, CS_I2C_SPI_Pin, GPIO_PIN_SET);

  /*Configure GPIO pin Output Level */
  HAL_GPIO_WritePin(OTG_FS_PowerSwitchOn_GPIO_Port, OTG_FS_PowerSwitchOn_Pin, GPIO_PIN_SET);

  /*Configure GPIO pin Output Level */
  HAL_GPIO_WritePin(CAMERA_RESET_GPIO_Port, CAMERA_RESET_Pin, GPIO_PIN_RESET);

  /*Configure GPIO pin Output Level */
  HAL_GPIO_WritePin(GPIOD, LD4_Pin|RST_Pin, GPIO_PIN_RESET);

  /*Configure GPIO pin Output Level */
  HAL_GPIO_WritePin(SD_CS_GPIO_Port, SD_CS_Pin, GPIO_PIN_RESET);

  /*Configure GPIO pin : CS_I2C_SPI_Pin */
  GPIO_InitStruct.Pin = CS_I2C_SPI_Pin;
  GPIO_InitStruct.Mode = GPIO_MODE_OUTPUT_PP;
  GPIO_InitStruct.Pull = GPIO_NOPULL;
  GPIO_InitStruct.Speed = GPIO_SPEED_FREQ_LOW;
  HAL_GPIO_Init(CS_I2C_SPI_GPIO_Port, &GPIO_InitStruct);

  /*Configure GPIO pins : OTG_FS_PowerSwitchOn_Pin CAMERA_RESET_Pin */
  GPIO_InitStruct.Pin = OTG_FS_PowerSwitchOn_Pin|CAMERA_RESET_Pin;
  GPIO_InitStruct.Mode = GPIO_MODE_OUTPUT_PP;
  GPIO_InitStruct.Pull = GPIO_NOPULL;
  GPIO_InitStruct.Speed = GPIO_SPEED_FREQ_LOW;
  HAL_GPIO_Init(GPIOC, &GPIO_InitStruct);

  /*Configure GPIO pins : BTN_CAP_Pin BTN_MODE_Pin BTN_OTHER_Pin */
  GPIO_InitStruct.Pin = BTN_CAP_Pin|BTN_MODE_Pin|BTN_OTHER_Pin;
  GPIO_InitStruct.Mode = GPIO_MODE_INPUT;
  GPIO_InitStruct.Pull = GPIO_PULLUP;
  HAL_GPIO_Init(GPIOC, &GPIO_InitStruct);

  /*Configure GPIO pin : BOOT1_Pin */
  GPIO_InitStruct.Pin = BOOT1_Pin;
  GPIO_InitStruct.Mode = GPIO_MODE_INPUT;
  GPIO_InitStruct.Pull = GPIO_NOPULL;
  HAL_GPIO_Init(BOOT1_GPIO_Port, &GPIO_InitStruct);

  /*Configure GPIO pins : LD4_Pin RST_Pin */
  GPIO_InitStruct.Pin = LD4_Pin|RST_Pin;
  GPIO_InitStruct.Mode = GPIO_MODE_OUTPUT_PP;
  GPIO_InitStruct.Pull = GPIO_NOPULL;
  GPIO_InitStruct.Speed = GPIO_SPEED_FREQ_LOW;
  HAL_GPIO_Init(GPIOD, &GPIO_InitStruct);

  /*Configure GPIO pin : PA8 */
  GPIO_InitStruct.Pin = GPIO_PIN_8;
  GPIO_InitStruct.Mode = GPIO_MODE_AF_PP;
  GPIO_InitStruct.Pull = GPIO_NOPULL;
  GPIO_InitStruct.Speed = GPIO_SPEED_FREQ_VERY_HIGH;
  GPIO_InitStruct.Alternate = GPIO_AF0_MCO;
  HAL_GPIO_Init(GPIOA, &GPIO_InitStruct);

  /*Configure GPIO pin : SD_CS_Pin */
  GPIO_InitStruct.Pin = SD_CS_Pin;
  GPIO_InitStruct.Mode = GPIO_MODE_OUTPUT_PP;
  GPIO_InitStruct.Pull = GPIO_NOPULL;
  GPIO_InitStruct.Speed = GPIO_SPEED_FREQ_LOW;
  HAL_GPIO_Init(SD_CS_GPIO_Port, &GPIO_InitStruct);

}

/* FSMC initialization function */
static void MX_FSMC_Init(void)
{

  FSMC_NORSRAM_TimingTypeDef Timing = {0};

  /** Perform the SRAM1 memory initialization sequence
  */
  hsram1.Instance = FSMC_NORSRAM_DEVICE;
  hsram1.Extended = FSMC_NORSRAM_EXTENDED_DEVICE;
  /* hsram1.Init */
  hsram1.Init.NSBank = FSMC_NORSRAM_BANK1;
  hsram1.Init.DataAddressMux = FSMC_DATA_ADDRESS_MUX_DISABLE;
  hsram1.Init.MemoryType = FSMC_MEMORY_TYPE_SRAM;
  hsram1.Init.MemoryDataWidth = FSMC_NORSRAM_MEM_BUS_WIDTH_8;
  hsram1.Init.BurstAccessMode = FSMC_BURST_ACCESS_MODE_DISABLE;
  hsram1.Init.WaitSignalPolarity = FSMC_WAIT_SIGNAL_POLARITY_LOW;
  hsram1.Init.WrapMode = FSMC_WRAP_MODE_DISABLE;
  hsram1.Init.WaitSignalActive = FSMC_WAIT_TIMING_BEFORE_WS;
  hsram1.Init.WriteOperation = FSMC_WRITE_OPERATION_ENABLE;
  hsram1.Init.WaitSignal = FSMC_WAIT_SIGNAL_DISABLE;
  hsram1.Init.ExtendedMode = FSMC_EXTENDED_MODE_DISABLE;
  hsram1.Init.AsynchronousWait = FSMC_ASYNCHRONOUS_WAIT_DISABLE;
  hsram1.Init.WriteBurst = FSMC_WRITE_BURST_DISABLE;
  hsram1.Init.PageSize = FSMC_PAGE_SIZE_NONE;
  /* Timing */
  Timing.AddressSetupTime = 6;
  Timing.AddressHoldTime = 15;
  Timing.DataSetupTime = 6;
  Timing.BusTurnAroundDuration = 1;
  Timing.CLKDivision = 16;
  Timing.DataLatency = 17;
  Timing.AccessMode = FSMC_ACCESS_MODE_A;
  /* ExtTiming */

  if (HAL_SRAM_Init(&hsram1, &Timing, NULL) != HAL_OK)
  {
    Error_Handler( );
  }

}

void Error_Handler(void)
{
  __disable_irq();
  while (1)
  {
  }
}
